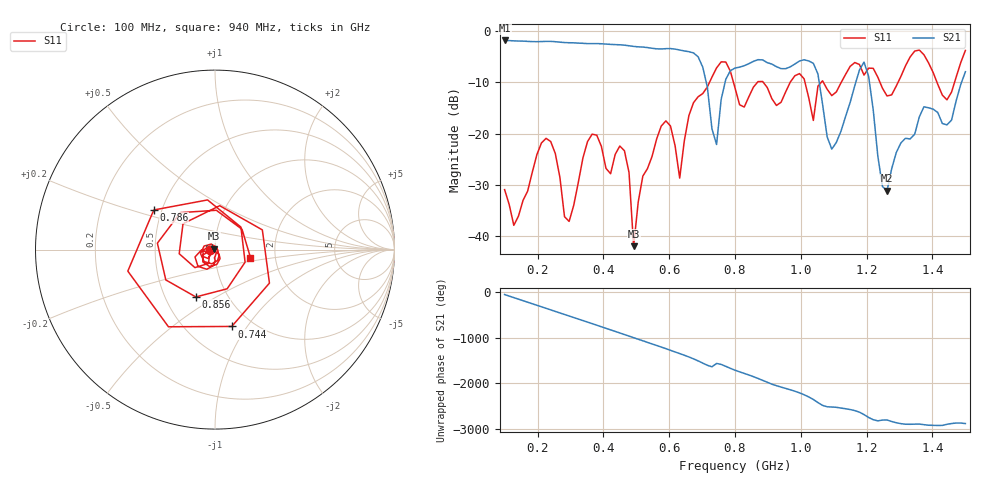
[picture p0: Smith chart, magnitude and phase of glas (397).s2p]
! NanoVNA-App
! Date: 2025-09-25 15:58:34
! Start: 100MHz Stop: 1,5GHz Points: 101
! S-Parameter data: F S11 S21 S12 S22
# Hz S RI R 50
!  Frequency  S11_Real  S11_Imag  S21_Real  S21_Imag  S12_Real  S12_Imag  S22_Real  S22_Imag
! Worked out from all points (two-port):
!   101 points, 100 MHz to 1.5 GHz, reference 50 ohm
!   highest |S21| = -1.80 dB at 100 MHz (marker M1); lowest = -31.2 dB at 1.262 GHz (marker M2)
!   |S21| within 3 dB of the highest: start of sweep to 684.4 MHz
!   lowest |S11| = -42.0 dB at 492 MHz (marker M3), VSWR 1.02, Z = 49.5 + j0.6 ohm
!   |S11| at or under -10 dB: start of sweep to 722.4 MHz; 795.4 MHz to 867.9 MHz (72.54 MHz wide, 8.72 % of centre); 886.2 MHz to 967.5 MHz (81.33 MHz wide, 8.77 % of centre) (the widest 3 of 7)
!   S12 and S22 are empty: the file has one direction only
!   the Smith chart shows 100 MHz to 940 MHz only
!   S11 on the Smith chart (normalised r, x): 100 MHz: 0.95, -0.01; 744 MHz: 0.80, -0.85; 786 MHz: 0.45, +0.24; 856 MHz: 0.71, -0.41; 940 MHz: 1.49, -0.14
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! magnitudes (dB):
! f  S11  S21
! 100 MHz  -30.9  -1.8
! 128 MHz  -37.9  -1.9
! 226 MHz  -20.9  -2.0
! 296 MHz  -37.1  -2.2
! 338 MHz  -24.7  -2.4
! 464 MHz  -23.3  -2.7
! 492 MHz  -42.0  -3.0
! 576 MHz  -18.5  -3.5
! 632 MHz  -28.7  -3.7
! 702 MHz  -12.2  -7.0
! 744 MHz  -7.2  -22.1
! 786 MHz  -7.8  -7.7
! 800 MHz  -11.1  -7.2
! 856 MHz  -10.9  -5.9
! 940 MHz  -13.9  -7.3
! 996 MHz  -8.3  -5.8
! 1.038 GHz  -17.4  -6.3
! 1.094 GHz  -12.6  -23.0
! 1.192 GHz  -8.6  -6.0
! 1.262 GHz  -12.6  -31.2
! 1.276 GHz  -12.4  -26.9
! 1.5 GHz  -3.8  -7.9
